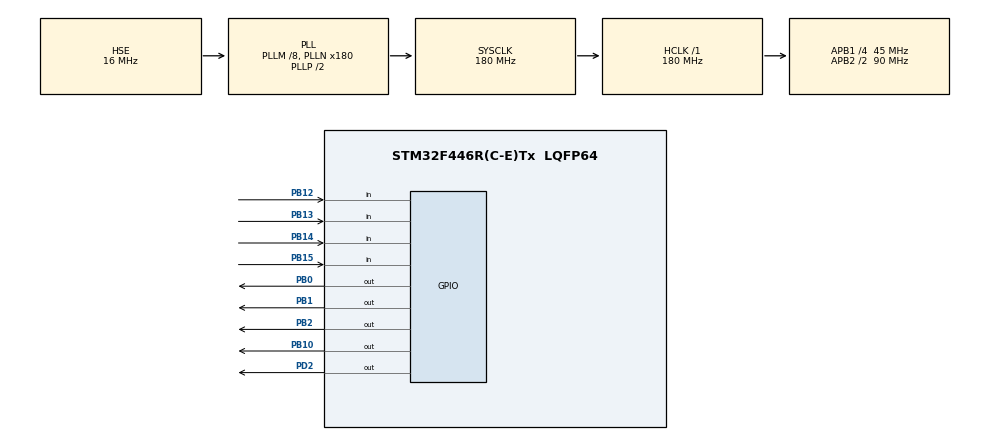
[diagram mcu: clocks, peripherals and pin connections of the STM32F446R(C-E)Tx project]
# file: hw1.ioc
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Mcu.Family=STM32F4
Mcu.Name=STM32F446R(C-E)Tx
Mcu.Package=LQFP64
NVIC.PriorityGroup=NVIC_PRIORITYGROUP_4
PA13.Mode=Serial_Wire
PA13.Signal=SYS_JTMS-SWDIO
PA14.Mode=Serial_Wire
PA14.Signal=SYS_JTCK-SWCLK
PB0.Signal=GPIO_Output
PB1.Signal=GPIO_Output
PB10.Signal=GPIO_Output
PB12.Signal=GPIO_Input
PB13.Signal=GPIO_Input
PB14.Signal=GPIO_Input
PB15.Signal=GPIO_Input
PB2.Signal=GPIO_Output
PD2.Signal=GPIO_Output
PH0-OSC_IN.Mode=HSE-External-Oscillator
PH0-OSC_IN.Signal=RCC_OSC_IN
PH1-OSC_OUT.Mode=HSE-External-Oscillator
PH1-OSC_OUT.Signal=RCC_OSC_OUT
ProjectManager.HeapSize=0x200
ProjectManager.StackSize=0x400
ProjectManager.TargetToolchain=STM32CubeIDE
RCC.AHBFreq_Value=180000000
RCC.APB1CLKDivider=RCC_HCLK_DIV4
RCC.APB1Freq_Value=45000000
RCC.APB1TimFreq_Value=90000000
RCC.APB2CLKDivider=RCC_HCLK_DIV2
RCC.APB2Freq_Value=90000000
RCC.APB2TimFreq_Value=180000000
RCC.CortexFreq_Value=180000000
RCC.HCLKFreq_Value=180000000
RCC.HSE_VALUE=16000000
RCC.PLLM=8
RCC.PLLN=180
RCC.PLLSourceVirtual=RCC_PLLSOURCE_HSE
RCC.SYSCLKFreq_VALUE=180000000
RCC.SYSCLKSource=RCC_SYSCLKSOURCE_PLLCLK
RCC.USBFreq_Value=180000000
RCC.VCOOutputFreq_Value=360000000
board=custom

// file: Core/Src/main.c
/* USER CODE BEGIN Header */
/**
  ******************************************************************************
  * @file           : main.c
  * @brief          : Main program body
  ******************************************************************************
  * @attention
  *
  * Copyright (c) 2026 STMicroelectronics.
  * All rights reserved.
  *
  * This software is licensed under terms that can be found in the LICENSE file
  * in the root directory of this software component.
  * If no LICENSE file comes with this software, it is provided AS-IS.
  *
  ******************************************************************************
  */
/* USER CODE END Header */

#include "main.h"
#include "gpio.h"

/* USER CODE BEGIN PV */
int state = 0;
/* USER CODE END PV */

void SystemClock_Config(void);
/* USER CODE BEGIN PFP */
void move(void);
void move2(void);
void reverse(void);
/* USER CODE END PFP */

/* USER CODE BEGIN 0 */

/**
  * @brief  순방향 1스텝씩 시프트 (0001 → 0010 → 0100 → 1000)
  */
void move(void)
{
    uint8_t a = 0b1110;
    for (int i = 0; i < 4; i++)
    {
    	HAL_Delay(200);
        a = ~((~a) << 1);
        HAL_GPIO_WritePin(GPIOB, GPIO_PIN_0,  (a & 0b0001) ? GPIO_PIN_SET : GPIO_PIN_RESET);
        HAL_GPIO_WritePin(GPIOB, GPIO_PIN_1,  (a & 0b0010) ? GPIO_PIN_SET : GPIO_PIN_RESET);
        HAL_GPIO_WritePin(GPIOB, GPIO_PIN_2,  (a & 0b0100) ? GPIO_PIN_SET : GPIO_PIN_RESET);
        HAL_GPIO_WritePin(GPIOB, GPIO_PIN_10, (a & 0b1000) ? GPIO_PIN_SET : GPIO_PIN_RESET);

    }
}

/**
  * @brief  두 비트 동시 구동 후 시프트
  */
void move2(void)
{
    uint8_t a = 0b1110;

    /* 첫 번째 스텝: 0b0001 출력 */
    HAL_GPIO_WritePin(GPIOB, GPIO_PIN_0,  (a & 0b0001) ? GPIO_PIN_SET : GPIO_PIN_RESET);
    HAL_GPIO_WritePin(GPIOB, GPIO_PIN_1,  (a & 0b0010) ? GPIO_PIN_SET : GPIO_PIN_RESET);
    HAL_GPIO_WritePin(GPIOB, GPIO_PIN_2,  (a & 0b0100) ? GPIO_PIN_SET : GPIO_PIN_RESET);
    HAL_GPIO_WritePin(GPIOB, GPIO_PIN_10, (a & 0b1000) ? GPIO_PIN_SET : GPIO_PIN_RESET);

    HAL_Delay(200);

    /* 두 번째 비트 추가 (0b0001 | 0b0010 = 0b0011) */
    a = (a & 0b1101);
    HAL_GPIO_WritePin(GPIOB, GPIO_PIN_0,  (a & 0b0001) ? GPIO_PIN_SET : GPIO_PIN_RESET);
	HAL_GPIO_WritePin(GPIOB, GPIO_PIN_1,  (a & 0b0010) ? GPIO_PIN_SET : GPIO_PIN_RESET);
	HAL_GPIO_WritePin(GPIOB, GPIO_PIN_2,  (a & 0b0100) ? GPIO_PIN_SET : GPIO_PIN_RESET);
	HAL_GPIO_WritePin(GPIOB, GPIO_PIN_10, (a & 0b1000) ? GPIO_PIN_SET : GPIO_PIN_RESET);

    /* 이후 4스텝 시프트 */
    for (int i = 0; i < 4; i++)
    {

    	HAL_Delay(200);
        a = ~((~a) << 1);
        HAL_GPIO_WritePin(GPIOB, GPIO_PIN_0,  (a & 0b0001) ? GPIO_PIN_SET : GPIO_PIN_RESET);
        HAL_GPIO_WritePin(GPIOB, GPIO_PIN_1,  (a & 0b0010) ? GPIO_PIN_SET : GPIO_PIN_RESET);
        HAL_GPIO_WritePin(GPIOB, GPIO_PIN_2,  (a & 0b0100) ? GPIO_PIN_SET : GPIO_PIN_RESET);
        HAL_GPIO_WritePin(GPIOB, GPIO_PIN_10, (a & 0b1000) ? GPIO_PIN_SET : GPIO_PIN_RESET);

    }
}

/**
  * @brief  PB0, PB1, PB2, PB10 전체 토글 (역방향)
  */
void reverse(void)
{
    HAL_GPIO_TogglePin(GPIOB, GPIO_PIN_0);
    HAL_GPIO_TogglePin(GPIOB, GPIO_PIN_1);
    HAL_GPIO_TogglePin(GPIOB, GPIO_PIN_2);
    HAL_GPIO_TogglePin(GPIOB, GPIO_PIN_10);
}

/* USER CODE END 0 */

int main(void)
{

    HAL_Init();

    SystemClock_Config();

    MX_GPIO_Init();

    while (1)
    {
        /* USER CODE BEGIN 3 */

        /* state == 1 이면 PD2 토글 */
        if (state == 1)
        {
            HAL_GPIO_TogglePin(GPIOD, GPIO_PIN_2);
        }

        /* PB12 LOW(버튼 눌림) → move() */
        if (HAL_GPIO_ReadPin(GPIOB, GPIO_PIN_12) == GPIO_PIN_RESET)
        {
            move();
        }

        /* PB13 LOW → reverse() */
        if (HAL_GPIO_ReadPin(GPIOB, GPIO_PIN_13) == GPIO_PIN_RESET)
        {
            reverse();
        }

        /* PB14 LOW → move2() */
        if (HAL_GPIO_ReadPin(GPIOB, GPIO_PIN_14) == GPIO_PIN_RESET)
        {
            move2();
        }

        /* PB15 LOW → state 토글 (0→1, 1→0) */
        if (HAL_GPIO_ReadPin(GPIOB, GPIO_PIN_15) == GPIO_PIN_RESET)
        {
            state = (state == 0) ? 1 : 0;
        }

        HAL_Delay(200);

    } /* USER CODE END 3 */
}

void SystemClock_Config(void)
{
    RCC_OscInitTypeDef RCC_OscInitStruct = {0};
    RCC_ClkInitTypeDef RCC_ClkInitStruct = {0};

    __HAL_RCC_PWR_CLK_ENABLE();
    __HAL_PWR_VOLTAGESCALING_CONFIG(PWR_REGULATOR_VOLTAGE_SCALE1);

    RCC_OscInitStruct.OscillatorType = RCC_OSCILLATORTYPE_HSE;
    RCC_OscInitStruct.HSEState       = RCC_HSE_ON;
    RCC_OscInitStruct.PLL.PLLState   = RCC_PLL_ON;
    RCC_OscInitStruct.PLL.PLLSource  = RCC_PLLSOURCE_HSE;
    RCC_OscInitStruct.PLL.PLLM       = 8;
    RCC_OscInitStruct.PLL.PLLN       = 180;
    RCC_OscInitStruct.PLL.PLLP       = RCC_PLLP_DIV2;
    RCC_OscInitStruct.PLL.PLLQ       = 2;
    RCC_OscInitStruct.PLL.PLLR       = 2;
    if (HAL_RCC_OscConfig(&RCC_OscInitStruct) != HAL_OK)
    {
        Error_Handler();
    }

    if (HAL_PWREx_EnableOverDrive() != HAL_OK)
    {
        Error_Handler();
    }

    RCC_ClkInitStruct.ClockType      = RCC_CLOCKTYPE_HCLK | RCC_CLOCKTYPE_SYSCLK
                                     | RCC_CLOCKTYPE_PCLK1 | RCC_CLOCKTYPE_PCLK2;
    RCC_ClkInitStruct.SYSCLKSource   = RCC_SYSCLKSOURCE_PLLCLK;
    RCC_ClkInitStruct.AHBCLKDivider  = RCC_SYSCLK_DIV1;
    RCC_ClkInitStruct.APB1CLKDivider = RCC_HCLK_DIV4;
    RCC_ClkInitStruct.APB2CLKDivider = RCC_HCLK_DIV2;

    if (HAL_RCC_ClockConfig(&RCC_ClkInitStruct, FLASH_LATENCY_5) != HAL_OK)
    {
        Error_Handler();
    }
}

void Error_Handler(void)
{
    __disable_irq();
    while (1) {}
}
